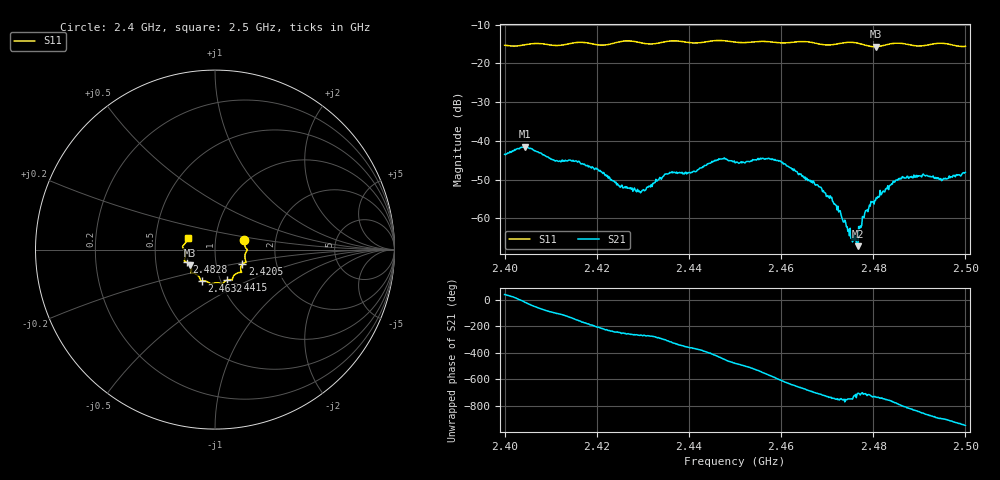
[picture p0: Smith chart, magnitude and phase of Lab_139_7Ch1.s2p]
# Hz S RI R 50
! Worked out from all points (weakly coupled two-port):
!   601 points, 2.4 GHz to 2.5 GHz, reference 50 ohm
!   highest |S21| = -41.52 dB at 2.4045 GHz (marker M1); lowest = -67.2 dB at 2.4767 GHz (marker M2)
!   lowest |S11| = -15.7 dB at 2.4805 GHz (marker M3), VSWR 1.39, Z = 37.3 - j6.68 ohm
!   |S11| at or under -10 dB: start of sweep to end of sweep
!   S12 and S22 are empty: the file has one direction only
!   S11 on the Smith chart (normalised r, x): 2.4 GHz: 1.38, +0.15; 2.4205 GHz: 1.34, -0.23; 2.4415 GHz: 1.07, -0.38; 2.4632 GHz: 0.82, -0.29; 2.4828 GHz: 0.72, -0.10; 2.5 GHz: 0.73, +0.10
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2.4e9  0.1632 0.0514  0.00526 0.00417  0 0  0 0
2.4045e9  0.1736 0.00695  0.00779 -0.00314  0 0  0 0
2.416667e9  0.173 -0.0697  -0.00492 -0.00105  0 0  0 0
2.4205e9  0.1517 -0.0817  -0.00355 0.00203  0 0  0 0
2.429e9  0.1375 -0.127  -5.26e-05 0.00221  0 0  0 0
2.433333e9  0.1006 -0.1517  0.00088 0.00303  0 0  0 0
2.4415e9  0.0655 -0.1706  0.00392 -0.000845  0 0  0 0
2.446667e9  0.0406 -0.193  0.00146 -0.00563  0 0  0 0
2.45e9  0.0245 -0.1862  -0.00273 -0.00446  0 0  0 0
2.457667e9  -0.0293 -0.1867  -0.00483 0.00323  0 0  0 0
2.463167e9  -0.073 -0.174  0.00154 0.00374  0 0  0 0
2.466667e9  -0.0818 -0.1671  0.00271 0.00141  0 0  0 0
2.471167e9  -0.1106 -0.1338  0.00152 -0.000685  0 0  0 0
2.475167e9  -0.1341 -0.1302  0.000479 -0.000275  0 0  0 0
2.476667e9  -0.132 -0.1248  0.000428 9.76e-05  0 0  0 0
2.478167e9  -0.1303 -0.1127  0.00116 0.000173  0 0  0 0
2.4805e9  -0.1386 -0.0871  0.00165 -0.000454  0 0  0 0
2.482833e9  -0.1587 -0.0703  0.00203 -0.00135  0 0  0 0
2.483333e9  -0.1626 -0.0685  0.00181 -0.00151  0 0  0 0
2.486833e9  -0.1693 -0.0565  6.75e-05 -0.00331  0 0  0 0
2.494833e9  -0.1806 0.0181  -0.00307 -8.01e-05  0 0  0 0
2.5e9  -0.1528 0.0645  -0.00251 0.00303  0 0  0 0
